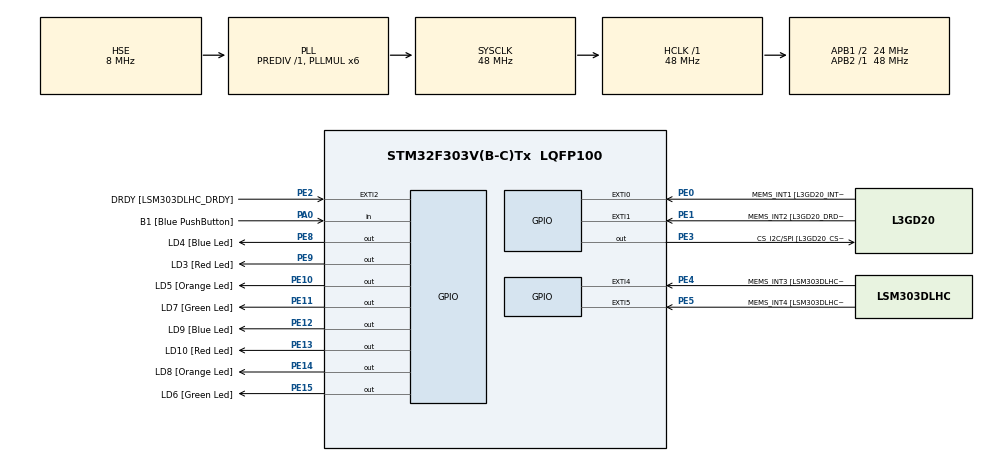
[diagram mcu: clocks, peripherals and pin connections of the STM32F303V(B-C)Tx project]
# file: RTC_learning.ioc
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Mcu.Family=STM32F3
Mcu.Name=STM32F303V(B-C)Tx
Mcu.Package=LQFP100
NVIC.PriorityGroup=NVIC_PRIORITYGROUP_0
PA0.GPIO_Label=B1 [Blue PushButton]
PA0.Signal=GPIO_Input
PA11.GPIO_Label=DM
PA11.Signal=USB_DM
PA12.GPIO_Label=DP
PA12.Signal=USB_DP
PA13.GPIO_Label=SWDIO
PA13.Mode=Serial_Wire
PA13.Signal=SYS_JTMS-SWDIO
PA14.GPIO_Label=SWCLK
PA14.Mode=Serial_Wire
PA14.Signal=SYS_JTCK-SWCLK
PA5.GPIO_Label=SPI1_SCK [L3GD20_SCL/SPC]
PA5.Signal=SPI1_SCK
PA6.GPIO_Label=SPI1_MISO [L3GD20_SA0/SDO]
PA6.Signal=SPI1_MISO
PA7.GPIO_Label=SPI1_MISO [L3GD20_SDA/SDI/SDO]
PA7.Signal=SPI1_MOSI
PB3.GPIO_Label=SWO
PB3.Signal=SYS_JTDO-TRACESWO
PB6.GPIO_Label=I2C1_SCL [LSM303DLHC_SCL]
PB6.GPIO_Pu=GPIO_PULLUP
PB6.Signal=I2C1_SCL
PB7.GPIO_Label=I2C1_SDA [LSM303DLHC_SDA]
PB7.GPIO_Pu=GPIO_PULLUP
PB7.Signal=I2C1_SDA
PC14-OSC32_IN.GPIO_Label=OSC32_IN
PC14-OSC32_IN.Signal=RCC_OSC32_IN
PC15-OSC32_OUT.GPIO_Label=OSC32_OUT
PC15-OSC32_OUT.Signal=RCC_OSC32_OUT
PE0.GPIO_Label=MEMS_INT1 [L3GD20_INT1]
PE0.GPIO_ModeDefaultEXTI=GPIO_MODE_EVT_RISING
PE0.Signal=GPXTI0
PE1.GPIO_Label=MEMS_INT2 [L3GD20_DRDY/INT2]
PE1.GPIO_ModeDefaultEXTI=GPIO_MODE_EVT_RISING
PE1.Signal=GPXTI1
PE10.GPIO_Label=LD5 [Orange Led]
PE10.Signal=GPIO_Output
PE11.GPIO_Label=LD7 [Green Led]
PE11.Signal=GPIO_Output
PE12.GPIO_Label=LD9 [Blue Led]
PE12.Signal=GPIO_Output
PE13.GPIO_Label=LD10 [Red Led]
PE13.Signal=GPIO_Output
PE14.GPIO_Label=LD8 [Orange Led]
PE14.Signal=GPIO_Output
PE15.GPIO_Label=LD6 [Green Led]
PE15.Signal=GPIO_Output
PE2.GPIO_Label=DRDY [LSM303DLHC_DRDY]
PE2.GPIO_ModeDefaultEXTI=GPIO_MODE_EVT_RISING
PE2.Signal=GPXTI2
PE3.GPIO_Label=CS_I2C/SPI [L3GD20_CS_I2C/SPI]
PE3.Signal=GPIO_Output
PE4.GPIO_Label=MEMS_INT3 [LSM303DLHC_INT1]
PE4.GPIO_ModeDefaultEXTI=GPIO_MODE_EVT_RISING
PE4.Signal=GPXTI4
PE5.GPIO_Label=MEMS_INT4 [LSM303DLHC_INT2]
PE5.GPIO_ModeDefaultEXTI=GPIO_MODE_EVT_RISING
PE5.Signal=GPXTI5
PE8.GPIO_Label=LD4 [Blue Led]
PE8.Signal=GPIO_Output
PE9.GPIO_Label=LD3 [Red Led]
PE9.Signal=GPIO_Output
PF0-OSC_IN.GPIO_Label=OSC_IN
PF0-OSC_IN.Mode=HSE-External-Clock-Source
PF0-OSC_IN.Signal=RCC_OSC_IN
PF1-OSC_OUT.GPIO_Label=OSC_OUT
PF1-OSC_OUT.Signal=RCC_OSC_OUT
ProjectManager.HeapSize=0x200
ProjectManager.StackSize=0x400
ProjectManager.TargetToolchain=STM32CubeIDE
RCC.AHBFreq_Value=48000000
RCC.APB1CLKDivider=RCC_HCLK_DIV2
RCC.APB1Freq_Value=24000000
RCC.APB1TimFreq_Value=48000000
RCC.APB2Freq_Value=48000000
RCC.APB2TimFreq_Value=48000000
RCC.CortexFreq_Value=48000000
RCC.HCLKFreq_Value=48000000
RCC.HSE_VALUE=8000000
RCC.HSI_VALUE=8000000
RCC.LSE_VALUE=32768
RCC.PLLMUL=RCC_PLL_MUL6
RCC.PLLSourceVirtual=RCC_PLLSOURCE_HSE
RCC.SYSCLKFreq_VALUE=48000000
RCC.SYSCLKSourceVirtual=RCC_SYSCLKSOURCE_PLLCLK
RCC.USBFreq_Value=48000000
RTC.AsynchPrediv=39
RTC.Format=RTC_FORMAT_BIN
RTC.Hours=1
RTC.SynchPrediv=999
RTC.WeekDay=RTC_WEEKDAY_MONDAY
VP_RTC_VS_RTC_Activate.Mode=RTC_Enabled
VP_RTC_VS_RTC_Calendar.Mode=RTC_Calendar
board=STM32F3DISCOVERY

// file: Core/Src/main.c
/* USER CODE BEGIN Header */
/**
  ******************************************************************************
  * @file           : main.c
  * @brief          : Main program body
  ******************************************************************************
  * @attention
  *
  * <h2><center>&copy; Copyright (c) 2021 STMicroelectronics.
  * All rights reserved.</center></h2>
  *
  * This software component is licensed by ST under BSD 3-Clause license,
  * the "License"; You may not use this file except in compliance with the
  * License. You may obtain a copy of the License at:
  *                        opensource.org/licenses/BSD-3-Clause
  *
  ******************************************************************************
  */
/* USER CODE END Header */
#include "main.h"

/* USER CODE BEGIN Includes */
#include "LiquidCrystal.h"
#include "stdio.h"
/* USER CODE END Includes */

RTC_HandleTypeDef hrtc;

void SystemClock_Config(void);
static void MX_GPIO_Init(void);
static void MX_RTC_Init(void);

int main(void)
{

  /* MCU Configuration--------------------------------------------------------*/

  /* Reset of all peripherals, Initializes the Flash interface and the Systick. */
  HAL_Init();

  /* Configure the system clock */
  SystemClock_Config();

  /* Initialize all configured peripherals */
  MX_GPIO_Init();
  MX_RTC_Init();
  /* USER CODE BEGIN 2 */
  LiquidCrystal(GPIOD, GPIO_PIN_8, GPIO_PIN_9, GPIO_PIN_10, GPIO_PIN_11, GPIO_PIN_12, GPIO_PIN_13, GPIO_PIN_14);
  begin(20, 4);
  RTC_TimeTypeDef now;
  now.Hours = 10;
  now.Minutes = 30;
  now.Seconds = 0;
  HAL_RTC_SetTime(&hrtc, &now, RTC_FORMAT_BIN);
  RTC_DateTypeDef now_date;
  now_date.Year = 21;
  now_date.Month = 12;
  now_date.WeekDay = RTC_WEEKDAY_SUNDAY;
  now_date.Date = 5;
  HAL_RTC_SetDate(&hrtc, &now_date, RTC_FORMAT_BIN);
  /* USER CODE END 2 */

  /* Infinite loop */
  /* USER CODE BEGIN WHILE */
  unsigned char time[30] = {'\0'};
  unsigned char date[30] = {'\0'};
  while (1)
  {
    /* USER CODE END WHILE */
    clear();
    setCursor(0, 0);
    HAL_RTC_GetDate(&hrtc, &now_date, RTC_FORMAT_BIN);
    HAL_RTC_GetTime(&hrtc, &now, RTC_FORMAT_BIN);
    sprintf(time,"%d:%d:%d", now.Hours, now.Minutes, now.Seconds);
    print(time);
    setCursor(0, 1);
    sprintf(date, "%d/%d/%d", now_date.Year, now_date.Month, now_date.Date);
    print(date);
    setCursor(0, 2);
    switch(now_date.WeekDay) {
      case RTC_WEEKDAY_FRIDAY:
        print("FRIDAY");
        break;
      case RTC_WEEKDAY_SATURDAY:
        print("SATURDAY");
        break;
      case RTC_WEEKDAY_SUNDAY:
        print("SUNDAY");
        break;
      case RTC_WEEKDAY_MONDAY:
        print("MONDAY");
        break;
      case RTC_WEEKDAY_TUESDAY:
        print("TUESDAY");
        break;
      case RTC_WEEKDAY_WEDNESDAY:
        print("WEDNESDAY");
        break;
      case RTC_WEEKDAY_THURSDAY:
        print("THURSDAY");
        break;
      default:
        break;
    }
    display();
    HAL_Delay(14900);
  }
}

void SystemClock_Config(void)
{
  RCC_OscInitTypeDef RCC_OscInitStruct = {0};
  RCC_ClkInitTypeDef RCC_ClkInitStruct = {0};
  RCC_PeriphCLKInitTypeDef PeriphClkInit = {0};

  /** Initializes the RCC Oscillators according to the specified parameters
  * in the RCC_OscInitTypeDef structure.
  */
  RCC_OscInitStruct.OscillatorType = RCC_OSCILLATORTYPE_LSI|RCC_OSCILLATORTYPE_HSE;
  RCC_OscInitStruct.HSEState = RCC_HSE_BYPASS;
  RCC_OscInitStruct.HSEPredivValue = RCC_HSE_PREDIV_DIV1;
  RCC_OscInitStruct.HSIState = RCC_HSI_ON;
  RCC_OscInitStruct.LSIState = RCC_LSI_ON;
  RCC_OscInitStruct.PLL.PLLState = RCC_PLL_ON;
  RCC_OscInitStruct.PLL.PLLSource = RCC_PLLSOURCE_HSE;
  RCC_OscInitStruct.PLL.PLLMUL = RCC_PLL_MUL6;
  if (HAL_RCC_OscConfig(&RCC_OscInitStruct) != HAL_OK)
  {
    Error_Handler();
  }
  /** Initializes the CPU, AHB and APB buses clocks
  */
  RCC_ClkInitStruct.ClockType = RCC_CLOCKTYPE_HCLK|RCC_CLOCKTYPE_SYSCLK
                              |RCC_CLOCKTYPE_PCLK1|RCC_CLOCKTYPE_PCLK2;
  RCC_ClkInitStruct.SYSCLKSource = RCC_SYSCLKSOURCE_PLLCLK;
  RCC_ClkInitStruct.AHBCLKDivider = RCC_SYSCLK_DIV1;
  RCC_ClkInitStruct.APB1CLKDivider = RCC_HCLK_DIV2;
  RCC_ClkInitStruct.APB2CLKDivider = RCC_HCLK_DIV1;

  if (HAL_RCC_ClockConfig(&RCC_ClkInitStruct, FLASH_LATENCY_1) != HAL_OK)
  {
    Error_Handler();
  }
  PeriphClkInit.PeriphClockSelection = RCC_PERIPHCLK_RTC;
  PeriphClkInit.RTCClockSelection = RCC_RTCCLKSOURCE_LSI;
  if (HAL_RCCEx_PeriphCLKConfig(&PeriphClkInit) != HAL_OK)
  {
    Error_Handler();
  }
}

static void MX_RTC_Init(void)
{

  RTC_TimeTypeDef sTime = {0};
  RTC_DateTypeDef sDate = {0};

  /** Initialize RTC Only
  */
  hrtc.Instance = RTC;
  hrtc.Init.HourFormat = RTC_HOURFORMAT_24;
  hrtc.Init.AsynchPrediv = 39;
  hrtc.Init.SynchPrediv = 999;
  hrtc.Init.OutPut = RTC_OUTPUT_DISABLE;
  hrtc.Init.OutPutPolarity = RTC_OUTPUT_POLARITY_HIGH;
  hrtc.Init.OutPutType = RTC_OUTPUT_TYPE_OPENDRAIN;
  if (HAL_RTC_Init(&hrtc) != HAL_OK)
  {
    Error_Handler();
  }

  /** Initialize RTC and set the Time and Date
  */
  sTime.Hours = 1;
  sTime.Minutes = 0;
  sTime.Seconds = 0;
  sTime.DayLightSaving = RTC_DAYLIGHTSAVING_NONE;
  sTime.StoreOperation = RTC_STOREOPERATION_RESET;
  if (HAL_RTC_SetTime(&hrtc, &sTime, RTC_FORMAT_BIN) != HAL_OK)
  {
    Error_Handler();
  }
  sDate.WeekDay = RTC_WEEKDAY_MONDAY;
  sDate.Month = RTC_MONTH_JANUARY;
  sDate.Date = 1;
  sDate.Year = 0;

  if (HAL_RTC_SetDate(&hrtc, &sDate, RTC_FORMAT_BIN) != HAL_OK)
  {
    Error_Handler();
  }

}

static void MX_GPIO_Init(void)
{
  GPIO_InitTypeDef GPIO_InitStruct = {0};

  /* GPIO Ports Clock Enable */
  __HAL_RCC_GPIOE_CLK_ENABLE();
  __HAL_RCC_GPIOC_CLK_ENABLE();
  __HAL_RCC_GPIOF_CLK_ENABLE();
  __HAL_RCC_GPIOA_CLK_ENABLE();
  __HAL_RCC_GPIOB_CLK_ENABLE();

  /*Configure GPIO pin Output Level */
  HAL_GPIO_WritePin(GPIOE, CS_I2C_SPI_Pin|LD4_Pin|LD3_Pin|LD5_Pin
                          |LD7_Pin|LD9_Pin|LD10_Pin|LD8_Pin
                          |LD6_Pin, GPIO_PIN_RESET);

  /*Configure GPIO pins : DRDY_Pin MEMS_INT3_Pin MEMS_INT4_Pin MEMS_INT1_Pin
                           MEMS_INT2_Pin */
  GPIO_InitStruct.Pin = DRDY_Pin|MEMS_INT3_Pin|MEMS_INT4_Pin|MEMS_INT1_Pin
                          |MEMS_INT2_Pin;
  GPIO_InitStruct.Mode = GPIO_MODE_EVT_RISING;
  GPIO_InitStruct.Pull = GPIO_NOPULL;
  HAL_GPIO_Init(GPIOE, &GPIO_InitStruct);

  /*Configure GPIO pins : CS_I2C_SPI_Pin LD4_Pin LD3_Pin LD5_Pin
                           LD7_Pin LD9_Pin LD10_Pin LD8_Pin
                           LD6_Pin */
  GPIO_InitStruct.Pin = CS_I2C_SPI_Pin|LD4_Pin|LD3_Pin|LD5_Pin
                          |LD7_Pin|LD9_Pin|LD10_Pin|LD8_Pin
                          |LD6_Pin;
  GPIO_InitStruct.Mode = GPIO_MODE_OUTPUT_PP;
  GPIO_InitStruct.Pull = GPIO_NOPULL;
  GPIO_InitStruct.Speed = GPIO_SPEED_FREQ_LOW;
  HAL_GPIO_Init(GPIOE, &GPIO_InitStruct);

  /*Configure GPIO pin : B1_Pin */
  GPIO_InitStruct.Pin = B1_Pin;
  GPIO_InitStruct.Mode = GPIO_MODE_INPUT;
  GPIO_InitStruct.Pull = GPIO_NOPULL;
  HAL_GPIO_Init(B1_GPIO_Port, &GPIO_InitStruct);

  /*Configure GPIO pins : SPI1_SCK_Pin SPI1_MISO_Pin SPI1_MISOA7_Pin */
  GPIO_InitStruct.Pin = SPI1_SCK_Pin|SPI1_MISO_Pin|SPI1_MISOA7_Pin;
  GPIO_InitStruct.Mode = GPIO_MODE_AF_PP;
  GPIO_InitStruct.Pull = GPIO_NOPULL;
  GPIO_InitStruct.Speed = GPIO_SPEED_FREQ_HIGH;
  GPIO_InitStruct.Alternate = GPIO_AF5_SPI1;
  HAL_GPIO_Init(GPIOA, &GPIO_InitStruct);

  /*Configure GPIO pins : DM_Pin DP_Pin */
  GPIO_InitStruct.Pin = DM_Pin|DP_Pin;
  GPIO_InitStruct.Mode = GPIO_MODE_AF_PP;
  GPIO_InitStruct.Pull = GPIO_NOPULL;
  GPIO_InitStruct.Speed = GPIO_SPEED_FREQ_HIGH;
  GPIO_InitStruct.Alternate = GPIO_AF14_USB;
  HAL_GPIO_Init(GPIOA, &GPIO_InitStruct);

  /*Configure GPIO pins : I2C1_SCL_Pin I2C1_SDA_Pin */
  GPIO_InitStruct.Pin = I2C1_SCL_Pin|I2C1_SDA_Pin;
  GPIO_InitStruct.Mode = GPIO_MODE_AF_OD;
  GPIO_InitStruct.Pull = GPIO_PULLUP;
  GPIO_InitStruct.Speed = GPIO_SPEED_FREQ_HIGH;
  GPIO_InitStruct.Alternate = GPIO_AF4_I2C1;
  HAL_GPIO_Init(GPIOB, &GPIO_InitStruct);

}

void Error_Handler(void)
{
  __disable_irq();
  while (1)
  {
  }
}

/************************ (C) COPYRIGHT STMicroelectronics *****END OF FILE****/
